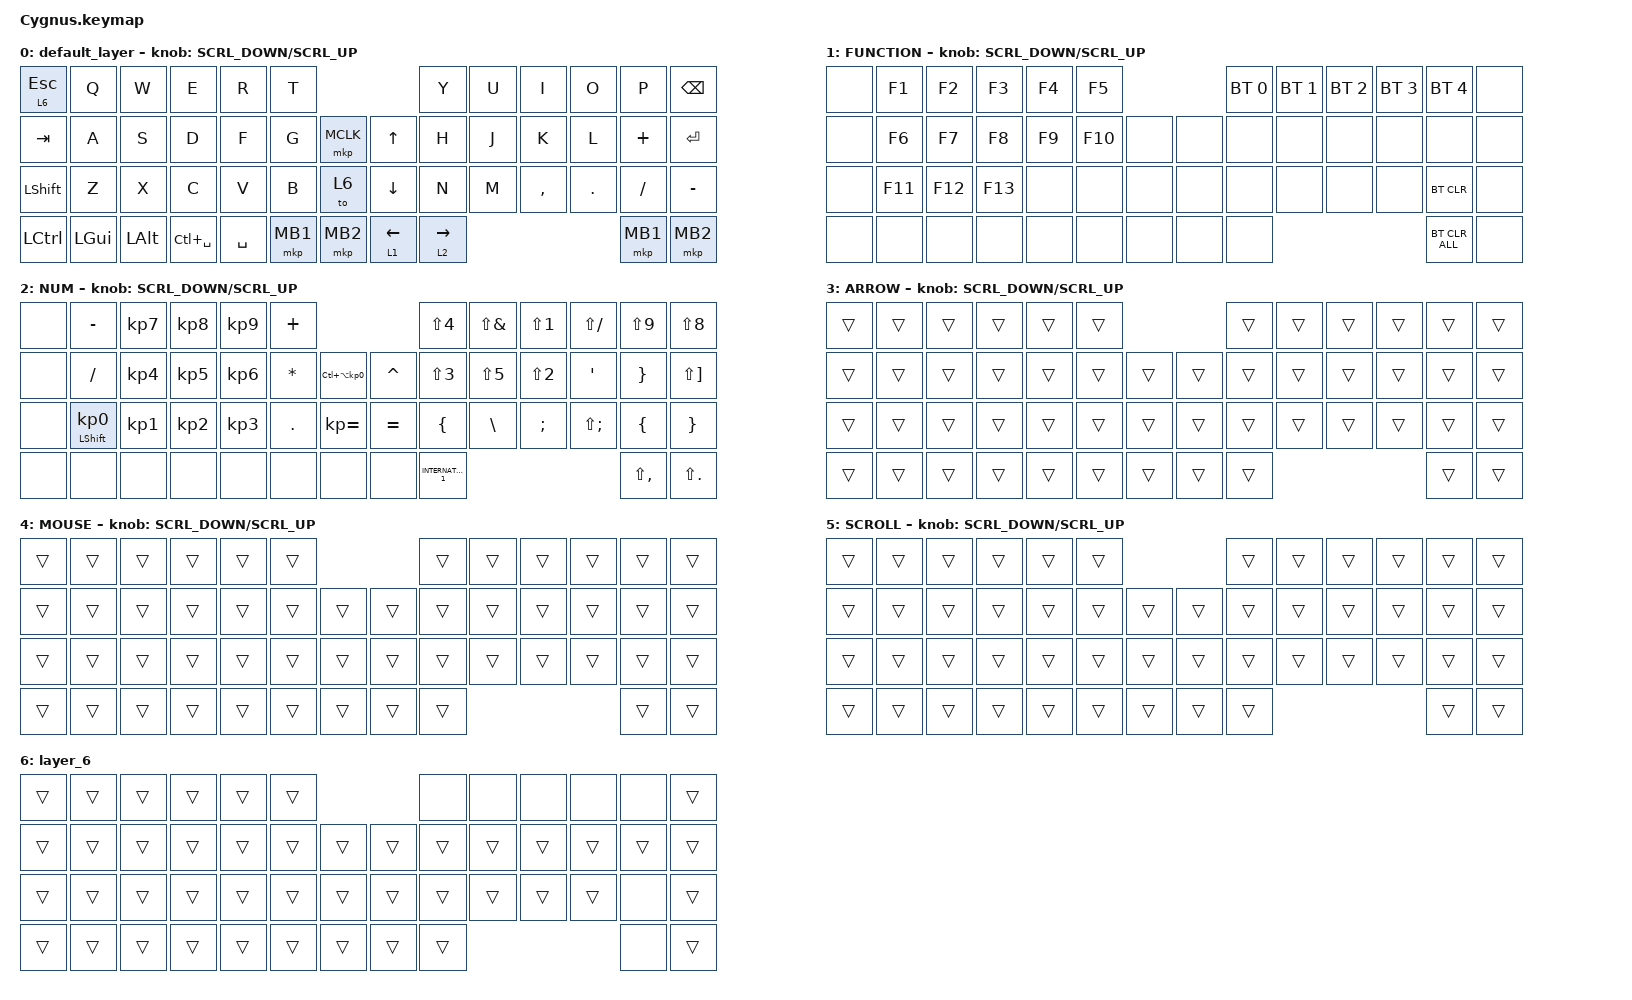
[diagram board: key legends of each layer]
#define ZMK_POINTING_DEFAULT_SCRL_VAL 120    // default: 10

#include <behaviors.dtsi>
#include <dt-bindings/zmk/bt.h>
#include <dt-bindings/zmk/keys.h>
#include <dt-bindings/zmk/pointing.h>

#define MOUSE 4
#define SCROLL 5
#define NUM 6

&mt {
    flavor = "balanced";
    quick-tap-ms = <0>;
};

/ {
    combos {
        compatible = "zmk,combos";

        double_quotation {
            bindings = <&kp DOUBLE_QUOTES>;
            key-positions = <20 21>;
        };
    };

    macros {
        to_layer_0: to_layer_0 {
            compatible = "zmk,behavior-macro-one-param";
            #binding-cells = <1>;
            bindings = <&to 0 &macro_param_1to1 &kp MACRO_PLACEHOLDER>;
            label = "TO_LAYER_0";
        };
    };

    behaviors {
        lt_to_layer_0: lt_to_layer_0 {
            compatible = "zmk,behavior-hold-tap";
            label = "LAYER_TAP_TO_0";
            bindings = <&mo>, <&to_layer_0>;

            #binding-cells = <2>;
            tapping-term-ms = <200>;
        };

        ROTATE: ROTATE {
            compatible = "zmk,behavior-sensor-rotate-var";
            label = "ROTATE";
            #sensor-binding-cells = <2>;
            bindings = <&msc>, <&msc>;

            tap-ms = <20>;
        };
    };

    keymap {
        compatible = "zmk,keymap";

        default_layer {
            bindings = <
&lt 6 ESC  &kp Q     &kp W     &kp E          &kp R      &kp T                                  &kp Y        &kp U  &kp I      &kp O    &kp P     &kp BSPC
&kp TAB    &kp A     &kp S     &kp D          &kp F      &kp G     &mkp MCLK    &kp UP_ARROW    &kp H        &kp J  &kp K      &kp L    &kp PLUS  &kp ENTER
&kp LSHFT  &kp Z     &kp X     &kp C          &kp V      &kp B     &to 6        &kp DOWN_ARROW  &kp N        &kp M  &kp COMMA  &kp DOT  &kp FSLH  &kp MINUS
&kp LCTRL  &kp LGUI  &kp LALT  &kp LC(SPACE)  &kp SPACE  &mkp MB1  &mkp MB2     &lt 1 LEFT      &lt 2 RIGHT                             &mkp MB1  &mkp MB2
            >;

            sensor-bindings = <&ROTATE SCRL_DOWN SCRL_UP>;
        };

        FUNCTION {
            bindings = <
&none  &kp F1   &kp F2   &kp F3   &kp F4  &kp F5                   &bt BT_SEL 0  &bt BT_SEL 1  &bt BT_SEL 2  &bt BT_SEL 3  &bt BT_SEL 4    &none
&none  &kp F6   &kp F7   &kp F8   &kp F9  &kp F10  &none    &none  &none         &none         &none         &none         &none           &none
&none  &kp F11  &kp F12  &kp F13  &none   &none    &none    &none  &none         &none         &none         &none         &bt BT_CLR      &none
&none  &none    &none    &none    &none   &none    &none    &none  &none                                                   &bt BT_CLR_ALL  &none
            >;

            sensor-bindings = <&ROTATE SCRL_DOWN SCRL_UP>;
        };

        NUM {
            bindings = <
&none  &kp MINUS                   &kp KP_NUMBER_7  &kp KP_NUMBER_8  &kp KP_NUMBER_9  &kp PLUS                                            &kp LS(NUMBER_4)     &kp LS(AMPERSAND)  &kp LS(NUMBER_1)  &kp LS(SLASH)      &kp LS(N9)       &kp LS(N8)
&none  &kp SLASH                   &kp KP_NUMBER_4  &kp KP_NUMBER_5  &kp KP_NUMBER_6  &kp ASTERISK  &kp LC(LA(KP_NUMBER_0))    &kp CARET  &kp LS(NUMBER_3)     &kp LS(N5)         &kp LS(NUMBER_2)  &kp SINGLE_QUOTE   &kp RIGHT_BRACE  &kp LS(RIGHT_BRACKET)
&none  &mt LEFT_SHIFT KP_NUMBER_0  &kp KP_NUMBER_1  &kp KP_NUMBER_2  &kp KP_NUMBER_3  &kp PERIOD    &kp KP_EQUAL               &kp EQUAL  &kp LBRC             &kp BACKSLASH      &kp SEMICOLON     &kp LS(SEMICOLON)  &kp LBRC         &kp RBRC
&none  &none                       &none            &none            &none            &none         &none                      &none      &kp INTERNATIONAL_1                                                          &kp LS(COMMA)    &kp LS(DOT)
            >;

            sensor-bindings = <&ROTATE SCRL_DOWN SCRL_UP>;
        };

        ARROW {
            bindings = <
&trans  &trans  &trans  &trans  &trans  &trans                    &trans  &trans  &trans  &trans  &trans  &trans
&trans  &trans  &trans  &trans  &trans  &trans  &trans    &trans  &trans  &trans  &trans  &trans  &trans  &trans
&trans  &trans  &trans  &trans  &trans  &trans  &trans    &trans  &trans  &trans  &trans  &trans  &trans  &trans
&trans  &trans  &trans  &trans  &trans  &trans  &trans    &trans  &trans                          &trans  &trans
            >;

            sensor-bindings = <&ROTATE SCRL_DOWN SCRL_UP>;
        };

        MOUSE {
            bindings = <
&trans  &trans  &trans  &trans  &trans  &trans                    &trans  &trans  &trans  &trans  &trans  &trans
&trans  &trans  &trans  &trans  &trans  &trans  &trans    &trans  &trans  &trans  &trans  &trans  &trans  &trans
&trans  &trans  &trans  &trans  &trans  &trans  &trans    &trans  &trans  &trans  &trans  &trans  &trans  &trans
&trans  &trans  &trans  &trans  &trans  &trans  &trans    &trans  &trans                          &trans  &trans
            >;

            sensor-bindings = <&ROTATE SCRL_DOWN SCRL_UP>;
        };

        SCROLL {
            bindings = <
&trans  &trans  &trans  &trans  &trans  &trans                    &trans  &trans  &trans  &trans  &trans  &trans
&trans  &trans  &trans  &trans  &trans  &trans  &trans    &trans  &trans  &trans  &trans  &trans  &trans  &trans
&trans  &trans  &trans  &trans  &trans  &trans  &trans    &trans  &trans  &trans  &trans  &trans  &trans  &trans
&trans  &trans  &trans  &trans  &trans  &trans  &trans    &trans  &trans                          &trans  &trans
            >;

            sensor-bindings = <&ROTATE SCRL_DOWN SCRL_UP>;
        };

        layer_6 {
            bindings = <
&trans  &trans  &trans  &trans  &trans  &trans                    &none   &none   &none   &none   &none   &trans
&trans  &trans  &trans  &trans  &trans  &trans  &trans    &trans  &trans  &trans  &trans  &trans  &trans  &trans
&trans  &trans  &trans  &trans  &trans  &trans  &trans    &trans  &trans  &trans  &trans  &trans  &none   &trans
&trans  &trans  &trans  &trans  &trans  &trans  &trans    &trans  &trans                          &none   &trans
            >;
        };
    };
};
